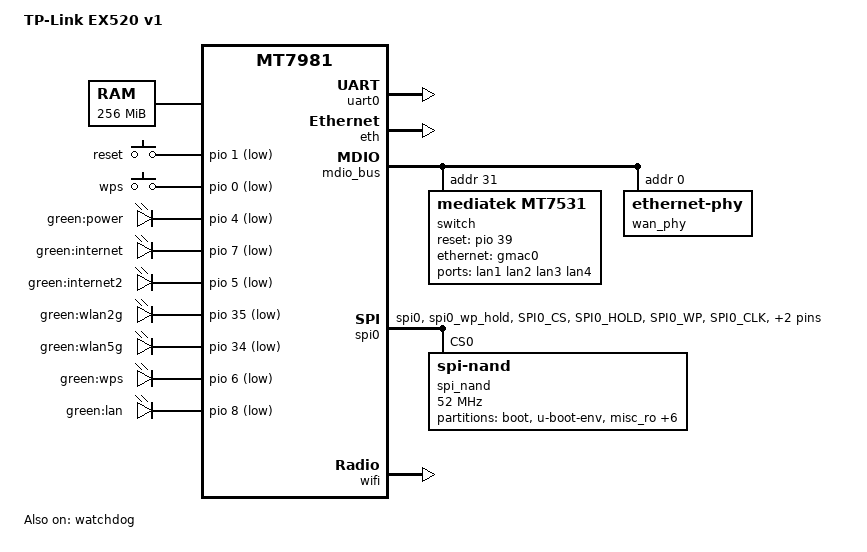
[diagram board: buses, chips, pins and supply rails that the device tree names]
// SPDX-License-Identifier: GPL-2.0-only OR MIT
/*
 * TP-Link EX520 v1 (AX3000, MT7981BA + MT7531AE + MT7976CN + EN8801S)
 *
 * Partition layout is taken from the stock TP-Link firmware (NMBM device),
 * see the stock DTS inside the vendor FIT image.
 */

/dts-v1/;

#include <dt-bindings/gpio/gpio.h>
#include <dt-bindings/input/input.h>
#include <dt-bindings/leds/common.h>
#include <dt-bindings/pinctrl/mt65xx.h>

#include "mt7981b.dtsi"

/ {
	model = "TP-Link EX520 v1";
	compatible = "tplink,ex520-v1", "mediatek,mt7981";

	aliases {
		serial0 = &uart0;
		label-mac-device = &gmac0;
	};

	chosen {
		stdout-path = "serial0:115200n8";
	};

	memory@40000000 {
		device_type = "memory";
		reg = <0 0x40000000 0 0x10000000>;
	};

	gpio-keys {
		compatible = "gpio-keys";

		button-reset {
			label = "reset";
			linux,code = <KEY_RESTART>;
			gpios = <&pio 1 GPIO_ACTIVE_LOW>;
		};

		button-wps {
			label = "wps";
			linux,code = <KEY_WPS_BUTTON>;
			gpios = <&pio 0 GPIO_ACTIVE_LOW>;
		};
	};

	leds {
		compatible = "gpio-leds";

		/* GPIO map recovered from the stock tp_gpio.ko LED table */
		led-power {
			label = "green:power";
			gpios = <&pio 4 GPIO_ACTIVE_LOW>;
			default-state = "on";
		};

		led-internet {
			label = "green:internet";
			gpios = <&pio 7 GPIO_ACTIVE_LOW>;
		};

		led-internet2 {
			label = "green:internet2";
			gpios = <&pio 5 GPIO_ACTIVE_LOW>;
		};

		led-wlan2g {
			label = "green:wlan2g";
			gpios = <&pio 35 GPIO_ACTIVE_LOW>;
		};

		led-wlan5g {
			label = "green:wlan5g";
			gpios = <&pio 34 GPIO_ACTIVE_LOW>;
		};

		led-wps {
			label = "green:wps";
			gpios = <&pio 6 GPIO_ACTIVE_LOW>;
		};

		led-lan {
			label = "green:lan";
			gpios = <&pio 8 GPIO_ACTIVE_LOW>;
		};
	};
};

&uart0 {
	status = "okay";
};

&watchdog {
	status = "okay";
};

&eth {
	status = "okay";

	gmac0: mac@0 {
		compatible = "mediatek,eth-mac";
		reg = <0>;
		phy-mode = "2500base-x";

		fixed-link {
			speed = <2500>;
			full-duplex;
			pause;
		};
	};

	gmac1: mac@1 {
		compatible = "mediatek,eth-mac";
		reg = <1>;
		phy-mode = "gmii";
		phy-handle = <&wan_phy>;
		label = "wan";
	};
};

&mdio_bus {
	switch: switch@1f {
		compatible = "mediatek,mt7531";
		reg = <31>;
		/* GPIO 39 resets the MT7531 and (shared) the EN8801S WAN PHY */
		reset-gpios = <&pio 39 GPIO_ACTIVE_HIGH>;
	};

	wan_phy: ethernet-phy@0 {
		/* Airoha EN8801S, ID is auto-detected (0x03a2.9461/9471) */
		reg = <0>;
		phy-mode = "gmii";
	};
};

&switch {
	ports {
		#address-cells = <1>;
		#size-cells = <0>;

		port@0 {
			reg = <0>;
			label = "lan1";
		};

		port@1 {
			reg = <1>;
			label = "lan2";
		};

		port@2 {
			reg = <2>;
			label = "lan3";
		};

		port@3 {
			reg = <3>;
			label = "lan4";
		};

		port@6 {
			reg = <6>;
			ethernet = <&gmac0>;
			phy-mode = "2500base-x";

			fixed-link {
				speed = <2500>;
				full-duplex;
				pause;
			};
		};
	};
};

&pio {
	spi0_flash_pins: spi0-pins {
		mux {
			function = "spi";
			groups = "spi0", "spi0_wp_hold";
		};

		conf-pu {
			pins = "SPI0_CS", "SPI0_HOLD", "SPI0_WP";
			drive-strength = <MTK_DRIVE_8mA>;
		};

		conf-pd {
			pins = "SPI0_CLK", "SPI0_MOSI", "SPI0_MISO";
			drive-strength = <MTK_DRIVE_8mA>;
		};
	};
};

&spi0 {
	pinctrl-names = "default";
	pinctrl-0 = <&spi0_flash_pins>;
	status = "okay";

	spi_nand: flash@0 {
		compatible = "spi-nand";
		reg = <0>;

		spi-max-frequency = <52000000>;
		spi-tx-bus-width = <4>;
		spi-rx-bus-width = <4>;

		mediatek,nmbm;
		mediatek,bmt-max-ratio = <1>;
		mediatek,bmt-max-reserved-blocks = <64>;

		partitions {
			compatible = "fixed-partitions";
			#address-cells = <1>;
			#size-cells = <1>;

			partition@0 {
				label = "boot";
				reg = <0x0000000 0x0200000>;
				read-only;
			};

			partition@200000 {
				label = "u-boot-env";
				reg = <0x0200000 0x0100000>;
			};

			partition@300000 {
				label = "misc_ro";
				reg = <0x0300000 0x0600000>;
				read-only;
			};

			partition@900000 {
				label = "misc_rw";
				reg = <0x0900000 0x0600000>;
			};

			partition@f00000 {
				label = "ubi0";
				reg = <0x0f00000 0x2800000>;
			};

			partition@3700000 {
				label = "ubi1";
				reg = <0x3700000 0x2800000>;
				read-only;
			};

			partition@5f00000 {
				label = "misc_rw_bak";
				reg = <0x5f00000 0x0600000>;
				read-only;
			};

			partition@6500000 {
				label = "bflag";
				reg = <0x6500000 0x0600000>;
				read-only;
			};

			partition@6b00000 {
				label = "misc_isp";
				reg = <0x6b00000 0x0600000>;
				read-only;
			};
		};
	};
};

&wifi {
	status = "okay";
};
